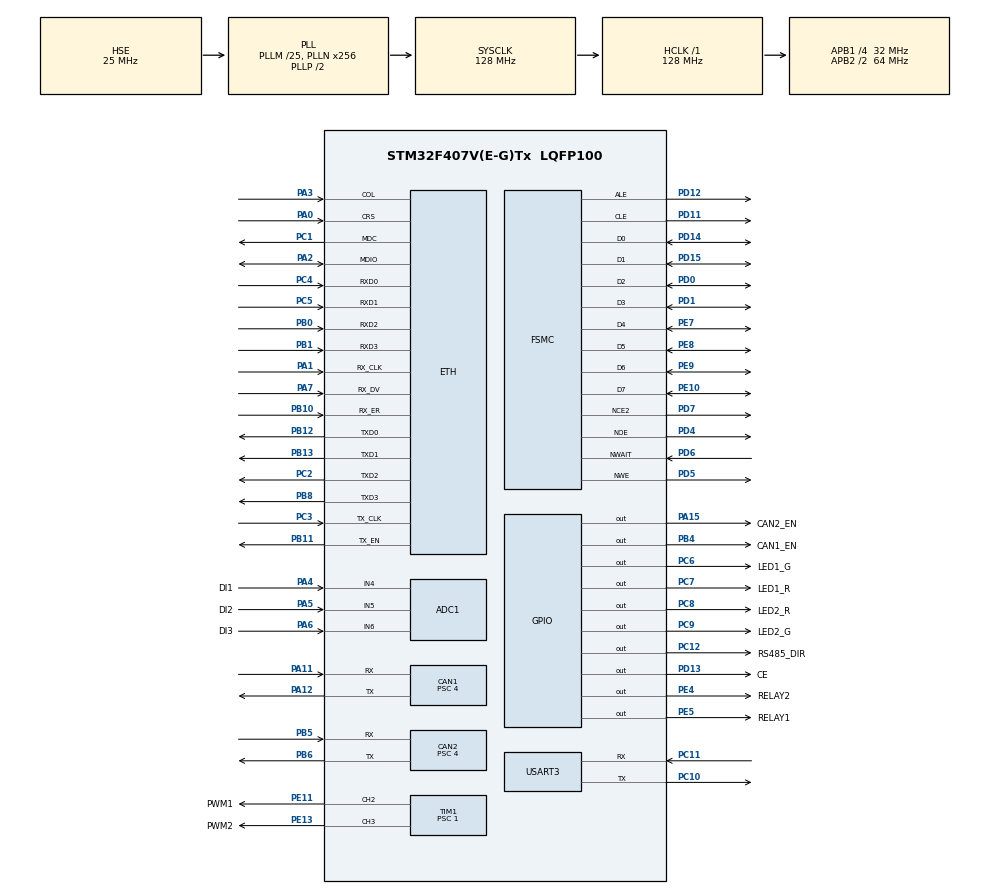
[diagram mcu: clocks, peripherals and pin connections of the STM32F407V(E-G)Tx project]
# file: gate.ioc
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ADC1.Channel-0\#ChannelRegularConversion=ADC_CHANNEL_4
ADC1.Channel-1\#ChannelRegularConversion=ADC_CHANNEL_5
ADC1.Channel-2\#ChannelRegularConversion=ADC_CHANNEL_6
ADC1.ContinuousConvMode=ENABLE
ADC1.DMAContinuousRequests=ENABLE
ADC1.NbrOfConversion=3
ADC1.NbrOfConversionFlag=1
ADC1.Rank-0\#ChannelRegularConversion=1
ADC1.Rank-1\#ChannelRegularConversion=2
ADC1.Rank-2\#ChannelRegularConversion=3
ADC1.SamplingTime-0\#ChannelRegularConversion=ADC_SAMPLETIME_84CYCLES
ADC1.SamplingTime-1\#ChannelRegularConversion=ADC_SAMPLETIME_84CYCLES
ADC1.SamplingTime-2\#ChannelRegularConversion=ADC_SAMPLETIME_84CYCLES
ADC1.ScanConvMode=ENABLE
ADC1.master=1
CAN1.BS1=CAN_BS1_13TQ
CAN1.BS2=CAN_BS2_2TQ
CAN1.CalculateTimeQuantum=125.0
CAN1.Mode=CAN_MODE_NORMAL
CAN1.NART=DISABLE
CAN1.Prescaler=4
CAN2.BS1=CAN_BS1_13TQ
CAN2.BS2=CAN_BS2_2TQ
CAN2.CalculateTimeQuantum=125.0
CAN2.Prescaler=4
Dma.ADC1.0.Direction=DMA_PERIPH_TO_MEMORY
Dma.ADC1.0.FIFOMode=DMA_FIFOMODE_ENABLE
Dma.ADC1.0.FIFOThreshold=DMA_FIFO_THRESHOLD_HALFFULL
Dma.ADC1.0.Instance=DMA2_Stream0
Dma.ADC1.0.MemBurst=DMA_MBURST_SINGLE
Dma.ADC1.0.MemDataAlignment=DMA_MDATAALIGN_HALFWORD
Dma.ADC1.0.MemInc=DMA_MINC_ENABLE
Dma.ADC1.0.Mode=DMA_CIRCULAR
Dma.ADC1.0.PeriphBurst=DMA_PBURST_SINGLE
Dma.ADC1.0.PeriphDataAlignment=DMA_PDATAALIGN_HALFWORD
Dma.ADC1.0.PeriphInc=DMA_PINC_DISABLE
Dma.ADC1.0.Priority=DMA_PRIORITY_LOW
Dma.Request0=ADC1
Dma.Request1=USART3_TX
Dma.USART3_TX.1.Direction=DMA_MEMORY_TO_PERIPH
Dma.USART3_TX.1.FIFOMode=DMA_FIFOMODE_DISABLE
Dma.USART3_TX.1.Instance=DMA1_Stream3
Dma.USART3_TX.1.MemDataAlignment=DMA_MDATAALIGN_BYTE
Dma.USART3_TX.1.MemInc=DMA_MINC_ENABLE
Dma.USART3_TX.1.Mode=DMA_NORMAL
Dma.USART3_TX.1.PeriphDataAlignment=DMA_PDATAALIGN_BYTE
Dma.USART3_TX.1.PeriphInc=DMA_PINC_DISABLE
Dma.USART3_TX.1.Priority=DMA_PRIORITY_LOW
ETH.AutoNegotiation=ETH_AUTONEGOTIATION_DISABLE
ETH.DuplexMode=ETH_MODE_HALFDUPLEX
ETH.MediaInterface=ETH_MEDIA_INTERFACE_MII
ETH.PHY_DUPLEX_STATUS=0x0010
ETH.PHY_Name_MII=userPHY
ETH.PHY_SPEED_STATUS=0x0004
ETH.PHY_SR=0x1F
ETH.PhyAddress=1
ETH.Speed=ETH_SPEED_100M
FREERTOS.Tasks01=defaultTask,0,256,StartDefaultTask,Default,NULL,Dynamic,NULL,NULL;canTask,-3,512,StartCanTask,Default,NULL,Dynamic,NULL,NULL
FREERTOS.configTOTAL_HEAP_SIZE=32768
FSMC.AttributeSpaceHiZSetupTime1=0x1
FSMC.AttributeSpaceHoldSetupTime1=0x2
FSMC.AttributeSpaceSetupTime1=0x1
FSMC.AttributeSpaceWaitSetupTime1=0x3
FSMC.CommonSpaceHiZSetupTime1=0x1
FSMC.CommonSpaceHoldSetupTime1=0x2
FSMC.CommonSpaceSetupTime1=0x1
FSMC.CommonSpaceWaitSetupTime1=0x3
FSMC.ECCPageSize1=FSMC_NAND_ECC_PAGE_SIZE_512BYTE
FSMC.NandBlockNbr1=0x400
FSMC.NandBlockSize1=0x40
FSMC.NandPageSize1=0x800
FSMC.NandSpareAreaSize1=0x40
LWIP.GATEWAY_ADDRESS=192.168.005.001
LWIP.IP_ADDRESS=192.168.005.085
LWIP.LWIP_DHCP=0
LWIP.LWIP_TCP=0
LWIP.MEMP_NUM_PBUF=24
LWIP.MEMP_NUM_TCP_PCB=1
LWIP.MEMP_NUM_TCP_PCB_LISTEN=1
LWIP.MEMP_NUM_TCP_SEG=4
LWIP.MEMP_NUM_UDP_PCB=6
LWIP.MEM_SIZE=10000
LWIP.NETMASK_ADDRESS=255.255.255.000
LWIP.Version=v2.0.3_Cube
Mcu.Family=STM32F4
Mcu.Name=STM32F407V(E-G)Tx
Mcu.Package=LQFP100
NVIC.CAN1_RX0_IRQn=true\:5\:0\:true\:false\:true\:true\:true\:true
NVIC.CAN2_RX0_IRQn=true\:5\:0\:false\:false\:true\:true\:true\:true
NVIC.DMA1_Stream3_IRQn=true\:5\:0\:false\:false\:true\:true\:false\:true
NVIC.DMA2_Stream0_IRQn=true\:5\:0\:false\:false\:true\:true\:false\:true
NVIC.ETH_IRQn=true\:5\:0\:true\:false\:true\:true\:false\:true
NVIC.PriorityGroup=NVIC_PRIORITYGROUP_4
NVIC.TIM2_IRQn=true\:0\:0\:false\:false\:true\:false\:false\:true
NVIC.TimeBase=TIM2_IRQn
NVIC.TimeBaseIP=TIM2
NVIC.USART3_IRQn=true\:5\:0\:false\:false\:true\:true\:true\:true
PA0-WKUP.Mode=MII
PA0-WKUP.Signal=ETH_CRS
PA1.Mode=MII
PA1.Signal=ETH_RX_CLK
PA11.GPIO_PuPd=GPIO_PULLUP
PA11.Mode=Master
PA11.Signal=CAN1_RX
PA12.Mode=Master
PA12.Signal=CAN1_TX
PA15.GPIO_Label=CAN2_EN
PA15.Signal=GPIO_Output
PA2.Mode=MII
PA2.Signal=ETH_MDIO
PA3.Mode=MII
PA3.Signal=ETH_COL
PA4.GPIO_Label=DI1
PA4.Signal=ADCx_IN4
PA5.GPIO_Label=DI2
PA5.Signal=ADCx_IN5
PA6.GPIO_Label=DI3
PA6.Signal=ADCx_IN6
PA7.Mode=MII
PA7.Signal=ETH_RX_DV
PB0.Mode=MII
PB0.Signal=ETH_RXD2
PB1.Mode=MII
PB1.Signal=ETH_RXD3
PB10.Mode=Activate Rx Err signal
PB10.Signal=ETH_RX_ER
PB11.Mode=MII
PB11.Signal=ETH_TX_EN
PB12.Mode=MII
PB12.Signal=ETH_TXD0
PB13.Mode=MII
PB13.Signal=ETH_TXD1
PB4.GPIO_Label=CAN1_EN
PB4.Signal=GPIO_Output
PB5.GPIO_PuPd=GPIO_PULLUP
PB5.Mode=Slave
PB5.Signal=CAN2_RX
PB6.Mode=Slave
PB6.Signal=CAN2_TX
PB8.Mode=MII
PB8.Signal=ETH_TXD3
PC1.Mode=MII
PC1.Signal=ETH_MDC
PC10.Mode=Asynchronous
PC10.Signal=USART3_TX
PC11.Mode=Asynchronous
PC11.Signal=USART3_RX
PC12.GPIO_Label=RS485_DIR
PC12.Signal=GPIO_Output
PC14-OSC32_IN.Mode=LSE-External-Oscillator
PC14-OSC32_IN.Signal=RCC_OSC32_IN
PC15-OSC32_OUT.Mode=LSE-External-Oscillator
PC15-OSC32_OUT.Signal=RCC_OSC32_OUT
PC2.Mode=MII
PC2.Signal=ETH_TXD2
PC3.Mode=MII
PC3.Signal=ETH_TX_CLK
PC4.Mode=MII
PC4.Signal=ETH_RXD0
PC5.Mode=MII
PC5.Signal=ETH_RXD1
PC6.GPIO_Label=LED1_G
PC6.Signal=GPIO_Output
PC7.GPIO_Label=LED1_R
PC7.Signal=GPIO_Output
PC8.GPIO_Label=LED2_R
PC8.Signal=GPIO_Output
PC9.GPIO_Label=LED2_G
PC9.Signal=GPIO_Output
PD0.GPIO_PuPd=GPIO_PULLUP
PD0.Mode=8b-dmux1
PD0.Signal=FSMC_D2
PD1.GPIO_PuPd=GPIO_PULLUP
PD1.Mode=8b-dmux1
PD1.Signal=FSMC_D3
PD11.GPIO_PuPd=GPIO_PULLUP
PD11.Mode=8b-dmux1
PD11.Signal=FSMC_CLE
PD12.GPIO_PuPd=GPIO_PULLUP
PD12.Mode=8b-dmux1
PD12.Signal=FSMC_ALE
PD13.GPIO_Label=CE
PD13.GPIO_PuPd=GPIO_PULLUP
PD13.Signal=GPIO_Output
PD14.GPIO_PuPd=GPIO_PULLUP
PD14.Mode=8b-dmux1
PD14.Signal=FSMC_D0
PD15.GPIO_PuPd=GPIO_PULLUP
PD15.Mode=8b-dmux1
PD15.Signal=FSMC_D1
PD4.GPIO_PuPd=GPIO_PULLUP
PD4.Mode=8b-dmux1
PD4.Signal=FSMC_NOE
PD5.GPIO_PuPd=GPIO_PULLUP
PD5.Mode=8b-dmux1
PD5.Signal=FSMC_NWE
PD6.GPIO_PuPd=GPIO_PULLUP
PD6.Mode=Wait1
PD6.Signal=FSMC_NWAIT
PD7.GPIO_PuPd=GPIO_PULLUP
PD7.Mode=NandChipSelect2_1
PD7.Signal=FSMC_NCE2
PE10.GPIO_PuPd=GPIO_PULLUP
PE10.Mode=8b-dmux1
PE10.Signal=FSMC_D7
PE11.GPIO_Label=PWM1
PE11.Signal=S_TIM1_CH2
PE13.GPIO_Label=PWM2
PE13.Signal=S_TIM1_CH3
PE4.GPIO_Label=RELAY2
PE4.Signal=GPIO_Output
PE5.GPIO_Label=RELAY1
PE5.Signal=GPIO_Output
PE7.GPIO_PuPd=GPIO_PULLUP
PE7.Mode=8b-dmux1
PE7.Signal=FSMC_D4
PE8.GPIO_PuPd=GPIO_PULLUP
PE8.Mode=8b-dmux1
PE8.Signal=FSMC_D5
PE9.GPIO_PuPd=GPIO_PULLUP
PE9.Mode=8b-dmux1
PE9.Signal=FSMC_D6
PH0-OSC_IN.Mode=HSE-External-Oscillator
PH0-OSC_IN.Signal=RCC_OSC_IN
PH1-OSC_OUT.Mode=HSE-External-Oscillator
PH1-OSC_OUT.Signal=RCC_OSC_OUT
ProjectManager.HeapSize=0x2000
ProjectManager.StackSize=0x4000
ProjectManager.TargetToolchain=TrueSTUDIO
RCC.48MHZClocksFreq_Value=64000000
RCC.AHBFreq_Value=128000000
RCC.APB1CLKDivider=RCC_HCLK_DIV4
RCC.APB1Freq_Value=32000000
RCC.APB1TimFreq_Value=64000000
RCC.APB2CLKDivider=RCC_HCLK_DIV2
RCC.APB2Freq_Value=64000000
RCC.APB2TimFreq_Value=128000000
RCC.CortexFreq_Value=128000000
RCC.HCLKFreq_Value=128000000
RCC.HSE_VALUE=25000000
RCC.HSI_VALUE=16000000
RCC.PLLM=25
RCC.PLLN=256
RCC.PLLSourceVirtual=RCC_PLLSOURCE_HSE
RCC.RCC_RTC_Clock_Source=RCC_RTCCLKSOURCE_LSE
RCC.RCC_RTC_Clock_SourceVirtual=RCC_RTCCLKSOURCE_HSE_DIV25
RCC.RCC_RTC_Clock_Source_FROM_HSE=RCC_RTCCLKSOURCE_HSE_DIV25
RCC.SYSCLKFreq_VALUE=128000000
RCC.SYSCLKSource=RCC_SYSCLKSOURCE_PLLCLK
RCC.VCOOutputFreq_Value=256000000
RTC.AsynchPrediv=127
RTC.SynchPrediv=255
SH.ADCx_IN4.0=ADC1_IN4,IN4
SH.ADCx_IN5.0=ADC1_IN5,IN5
SH.ADCx_IN6.0=ADC1_IN6,IN6
SH.S_TIM1_CH2.0=TIM1_CH2,PWM Generation2 CH2
SH.S_TIM1_CH3.0=TIM1_CH3,PWM Generation3 CH3
TIM1.Channel-PWM\ Generation2\ CH2=TIM_CHANNEL_2
TIM1.Channel-PWM\ Generation3\ CH3=TIM_CHANNEL_3
TIM1.Period=65535
TIM1.Prescaler=1
TIM1.RepetitionCounter=0
USART3.VirtualMode=VM_ASYNC
VP_FREERTOS_VS_CMSIS_V1.Mode=CMSIS_V1
VP_LWIP_VS_Enabled.Mode=Enabled
VP_RTC_VS_RTC_Activate.Mode=RTC_Enabled
VP_SYS_VS_tim2.Mode=TIM2
VP_TIM1_VS_ClockSourceINT.Mode=Internal
board=custom

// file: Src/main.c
/* USER CODE BEGIN Header */
/**
  ******************************************************************************
  * @file           : main.c
  * @brief          : Main program body
  ******************************************************************************
  * @attention
  *
  * <h2><center>&copy; Copyright (c) 2019 STMicroelectronics.
  * All rights reserved.</center></h2>
  *
  * This software component is licensed by ST under Ultimate Liberty license
  * SLA0044, the "License"; You may not use this file except in compliance with
  * the License. You may obtain a copy of the License at:
  *                             www.st.com/SLA0044
  *
  ******************************************************************************
  */
/* USER CODE END Header */

#include "main.h"
#include "cmsis_os.h"
#include "adc.h"
#include "can.h"
#include "dma.h"
#include "lwip.h"
#include "rtc.h"
#include "tim.h"
#include "usart.h"
#include "gpio.h"
#include "fsmc.h"

/* USER CODE BEGIN Includes */

#include "button_led.h"
#include "can_tx_stack.h"
#include "frame_stack.h"
#include "uart.h"
#include "can_cmd.h"
#include "eeprom.h"
#include "modbus.h"
#include "dyn_data.h"
#include "can_protocol.h"

/* USER CODE END Includes */

/* USER CODE BEGIN PV */

extern CAN_HandleTypeDef hcan1;
//static CAN_RxHeaderTypeDef   RxHeader;
//static uint8_t               RxData[8];
extern tx_stack can1_tx_stack;
extern tx_stack can2_tx_stack;
extern uint32_t	can_caught_id;
extern uint16_t packet_tmr;

extern uint8_t net_addr;
extern uint8_t current_group;

uint16_t VirtAddVarTab[NB_OF_VAR]={1,2,3,4,5,6,7,8,9,10,11,12,13,14};

extern unsigned short holdReg[HoldingRegistersLimit];

uint16_t adc_data[3]={0,0,0};

extern uint16_t	point_cnt;	// предполагаемое число точек

#define		DI_BREAK_LIMIT		200
#define		DI_OPEN_LIMIT		800
#define		DI_CLOSED_LIMIT		2000

/* USER CODE END PV */

void SystemClock_Config(void);
void MX_FREERTOS_Init(void);

/* USER CODE BEGIN 0 */

static void initCANFilter() {
	CAN_FilterTypeDef  sFilterConfig;

	sFilterConfig.FilterBank = 0;
	sFilterConfig.FilterMode = CAN_FILTERMODE_IDMASK;
	sFilterConfig.FilterScale = CAN_FILTERSCALE_32BIT;
	sFilterConfig.FilterIdHigh = 0x0000;
	sFilterConfig.FilterIdLow = 0x0000;
	sFilterConfig.FilterMaskIdHigh = 0x0000;
	sFilterConfig.FilterMaskIdLow = 0x0000;
	sFilterConfig.FilterFIFOAssignment = CAN_RX_FIFO0;
	sFilterConfig.FilterActivation = ENABLE;
	sFilterConfig.SlaveStartFilterBank = 14;
	HAL_CAN_ConfigFilter(&hcan1, &sFilterConfig);

	sFilterConfig.FilterBank = 14;
	sFilterConfig.FilterMode = CAN_FILTERMODE_IDMASK;
	sFilterConfig.FilterScale = CAN_FILTERSCALE_32BIT;
	sFilterConfig.FilterIdHigh = 0x0000;
	sFilterConfig.FilterIdLow = 0x0000;
	sFilterConfig.FilterMaskIdHigh = 0x0000;
	sFilterConfig.FilterMaskIdLow = 0x0000;
	sFilterConfig.FilterFIFOAssignment = CAN_RX_FIFO0;
	sFilterConfig.FilterActivation = ENABLE;
	sFilterConfig.SlaveStartFilterBank = 14;
	HAL_CAN_ConfigFilter(&hcan2, &sFilterConfig);
}

/* USER CODE END 0 */

int main(void)
{

  /* MCU Configuration--------------------------------------------------------*/

  /* Reset of all peripherals, Initializes the Flash interface and the Systick. */
  HAL_Init();

  /* Configure the system clock */
  SystemClock_Config();

  /* Initialize all configured peripherals */
  MX_GPIO_Init();
  MX_DMA_Init();
  MX_FSMC_Init();
  MX_CAN1_Init();
  MX_RTC_Init();
  MX_ADC1_Init();
  MX_TIM1_Init();
  MX_USART3_UART_Init();
  MX_CAN2_Init();
  /* USER CODE BEGIN 2 */

  HAL_FLASH_Unlock();
  EE_Init();
  EE_ReadVariable(VirtAddVarTab[0],  &holdReg[0]);
  if(holdReg[0]!=0x1235) {
	  EE_WriteVariable(VirtAddVarTab[0],0x1235);
	  holdReg[0] = 192;holdReg[1] = 168;holdReg[2] = 1;holdReg[3] = 2;
	  holdReg[4] = 255;holdReg[5] = 255;holdReg[6] = 255;holdReg[7] = 0;
	  holdReg[8] = 192;holdReg[9] = 168;holdReg[10] = 1;holdReg[11] = 1;
	  holdReg[12] = 1; // число подкл точек
	  holdReg[13] = 1; // сетевой адрес
	  for(uint8_t i=0;i<NB_OF_VAR-1;i++) {
		  EE_WriteVariable(VirtAddVarTab[i+1],  holdReg[i]);
	  }
  }
  for(uint8_t i=0;i<NB_OF_VAR-1;i++) {
	  EE_ReadVariable(VirtAddVarTab[i+1],  &holdReg[i]);
  }

  current_group = net_addr = holdReg[13];
  point_cnt = holdReg[12];

  LL_DMA_EnableIT_TC(DMA1, LL_DMA_STREAM_3);
  LL_DMA_EnableIT_TE(DMA1, LL_DMA_STREAM_3);
  LL_USART_EnableIT_RXNE(USART3);

  HAL_ADC_Start_DMA(&hadc1,(uint32_t*) &adc_data,3);

  HAL_TIM_PWM_Start(&htim1, TIM_CHANNEL_2);
  HAL_TIM_PWM_Start(&htim1, TIM_CHANNEL_3);

  //TIM1->CCR2=32756;
  //TIM1->CCR3=10000;

  init_can_frames();
  init_can_tx_stack(&can1_tx_stack);
  init_can_tx_stack(&can2_tx_stack);

  initCANFilter();
  HAL_CAN_Start(&hcan1);
  if (HAL_CAN_ActivateNotification(&hcan1, CAN_IT_RX_FIFO0_MSG_PENDING) != HAL_OK) {
	  Error_Handler();
  }
  HAL_CAN_Start(&hcan2);
  if (HAL_CAN_ActivateNotification(&hcan2, CAN_IT_RX_FIFO0_MSG_PENDING) != HAL_OK) {
    Error_Handler();
  }
  init_groups();
  init_points();

  /* USER CODE END 2 */

  /* Call init function for freertos objects (in freertos.c) */
  MX_FREERTOS_Init();

  /* Start scheduler */
  osKernelStart();

  /* We should never get here as control is now taken by the scheduler */

  /* Infinite loop */
  while (1)
  {

  }
}

void SystemClock_Config(void)
{
  RCC_OscInitTypeDef RCC_OscInitStruct = {0};
  RCC_ClkInitTypeDef RCC_ClkInitStruct = {0};
  RCC_PeriphCLKInitTypeDef PeriphClkInitStruct = {0};

  /** Configure the main internal regulator output voltage
  */
  __HAL_RCC_PWR_CLK_ENABLE();
  __HAL_PWR_VOLTAGESCALING_CONFIG(PWR_REGULATOR_VOLTAGE_SCALE1);
  /** Initializes the CPU, AHB and APB busses clocks
  */
  RCC_OscInitStruct.OscillatorType = RCC_OSCILLATORTYPE_HSE|RCC_OSCILLATORTYPE_LSE;
  RCC_OscInitStruct.HSEState = RCC_HSE_ON;
  RCC_OscInitStruct.LSEState = RCC_LSE_ON;
  RCC_OscInitStruct.PLL.PLLState = RCC_PLL_ON;
  RCC_OscInitStruct.PLL.PLLSource = RCC_PLLSOURCE_HSE;
  RCC_OscInitStruct.PLL.PLLM = 25;
  RCC_OscInitStruct.PLL.PLLN = 256;
  RCC_OscInitStruct.PLL.PLLP = RCC_PLLP_DIV2;
  RCC_OscInitStruct.PLL.PLLQ = 4;
  if (HAL_RCC_OscConfig(&RCC_OscInitStruct) != HAL_OK)
  {
    Error_Handler();
  }
  /** Initializes the CPU, AHB and APB busses clocks
  */
  RCC_ClkInitStruct.ClockType = RCC_CLOCKTYPE_HCLK|RCC_CLOCKTYPE_SYSCLK
                              |RCC_CLOCKTYPE_PCLK1|RCC_CLOCKTYPE_PCLK2;
  RCC_ClkInitStruct.SYSCLKSource = RCC_SYSCLKSOURCE_PLLCLK;
  RCC_ClkInitStruct.AHBCLKDivider = RCC_SYSCLK_DIV1;
  RCC_ClkInitStruct.APB1CLKDivider = RCC_HCLK_DIV4;
  RCC_ClkInitStruct.APB2CLKDivider = RCC_HCLK_DIV2;

  if (HAL_RCC_ClockConfig(&RCC_ClkInitStruct, FLASH_LATENCY_4) != HAL_OK)
  {
    Error_Handler();
  }
  PeriphClkInitStruct.PeriphClockSelection = RCC_PERIPHCLK_RTC;
  PeriphClkInitStruct.RTCClockSelection = RCC_RTCCLKSOURCE_LSE;
  if (HAL_RCCEx_PeriphCLKConfig(&PeriphClkInitStruct) != HAL_OK)
  {
    Error_Handler();
  }
}

/* USER CODE BEGIN 4 */

void HAL_CAN_RxFifo0MsgPendingCallback(CAN_HandleTypeDef *hcan)
{
	if(hcan==&hcan1) check_can_rx(1);
	else check_can_rx(2);
	/*if(HAL_CAN_GetRxFifoFillLevel(hcan, CAN_RX_FIFO0)) {
		if(HAL_CAN_GetRxMessage(hcan, CAN_RX_FIFO0, &RxHeader, RxData) == HAL_OK) {
			toggle_second_led(GREEN);
		}
	}*/
}

/* USER CODE END 4 */

void HAL_TIM_PeriodElapsedCallback(TIM_HandleTypeDef *htim)
{
  /* USER CODE BEGIN Callback 0 */

  can_write_from_stack();
  packet_tmr++;
  if(packet_tmr>=500) {
	  packet_tmr=0;
	  can_caught_id = 0;
  }
  uart1_scan();

  /* USER CODE END Callback 0 */
  if (htim->Instance == TIM2) {
    HAL_IncTick();
  }
}

void Error_Handler(void)
{
}

/************************ (C) COPYRIGHT STMicroelectronics *****END OF FILE****/

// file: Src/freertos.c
/* USER CODE BEGIN Header */
/**
  ******************************************************************************
  * File Name          : freertos.c
  * Description        : Code for freertos applications
  ******************************************************************************
  * @attention
  *
  * <h2><center>&copy; Copyright (c) 2019 STMicroelectronics.
  * All rights reserved.</center></h2>
  *
  * This software component is licensed by ST under Ultimate Liberty license
  * SLA0044, the "License"; You may not use this file except in compliance with
  * the License. You may obtain a copy of the License at:
  *                             www.st.com/SLA0044
  *
  ******************************************************************************
  */
/* USER CODE END Header */

#include "FreeRTOS.h"
#include "task.h"
#include "main.h"
#include "cmsis_os.h"

/* USER CODE BEGIN Includes */

#include "button_led.h"
#include "udp_server.h"
#include "uart.h"
#include "modbus.h"
#include "can_cmd.h"
#include "dyn_data.h"

/* USER CODE END Includes */

/* USER CODE BEGIN PD */

#define		DI_BREAK_LIMIT		200
#define		DI_OPEN_LIMIT		800
#define		DI_CLOSED_LIMIT		2000

#define		START_STATE			0
#define		CHECK_DI1			1
#define		CHECK_RELAY2		2
#define		CHECK_DI2			3
#define		CHECK_AUDIO			4
#define		CHECK_DI3			5
#define		CHECK_DI2_2			6
#define		CHECK_RELAY2_2		7
#define		CHECK_DI1_2			8

/* USER CODE END PD */

/* USER CODE BEGIN Variables */

uint8_t		gate_state = START_STATE;
uint16_t	gate_tmr = 0;
uint16_t	sec_cnt = 0;
uint16_t	point_cnt = 2;
static uint16_t	i = 0;
static uint8_t	relay2_test = 0;
static uint8_t	audio_test = 0;

static uint16_t err_dec = 0;
static uint16_t err_point = 0;
static uint16_t err_num = 0;

extern uint16_t adc_data[3];

extern unsigned short inpReg[InputRegistersLimit];
extern unsigned char discrInp[DiscreteInputsLimit];
extern uint16_t group_tmr[GROUP_CNT];
extern struct group_data groups[GROUP_CNT];

uint8_t modbus_di_array[DiscreteInputsLimit/8];

uint16_t group_bits=0;

extern uint16_t can_tmr;

extern uint8_t p_cnt;
extern uint8_t current_group;

/* USER CODE END Variables */
osThreadId defaultTaskHandle;
osThreadId canTaskHandle;

/* USER CODE BEGIN FunctionPrototypes */

// упаковка массива бит в байты
static void bytes_to_bits(uint8_t *inp, uint8_t *out, uint16_t cnt) {
	uint16_t i = 0;
	uint8_t bit_num = 0;
	uint16_t byte_num = 0;
	uint8_t byte_value = 0;
	for(i=0;i<cnt;i++) {
		if(inp[i]) byte_value |= 1<<bit_num;
		bit_num++;
		if(bit_num==8) {
			bit_num = 0;
			out[byte_num++] = byte_value;
			byte_value = 0;
		}
	}
}

/* USER CODE END FunctionPrototypes */

void StartDefaultTask(void const * argument);
void StartCanTask(void const * argument);

extern void MX_LWIP_Init(void);
void MX_FREERTOS_Init(void); /* (MISRA C 2004 rule 8.1) */

/* GetIdleTaskMemory prototype (linked to static allocation support) */
void vApplicationGetIdleTaskMemory( StaticTask_t **ppxIdleTaskTCBBuffer, StackType_t **ppxIdleTaskStackBuffer, uint32_t *pulIdleTaskStackSize );

/* USER CODE BEGIN GET_IDLE_TASK_MEMORY */
static StaticTask_t xIdleTaskTCBBuffer;
static StackType_t xIdleStack[configMINIMAL_STACK_SIZE];

void vApplicationGetIdleTaskMemory( StaticTask_t **ppxIdleTaskTCBBuffer, StackType_t **ppxIdleTaskStackBuffer, uint32_t *pulIdleTaskStackSize )
{
  *ppxIdleTaskTCBBuffer = &xIdleTaskTCBBuffer;
  *ppxIdleTaskStackBuffer = &xIdleStack[0];
  *pulIdleTaskStackSize = configMINIMAL_STACK_SIZE;
  /* place for user code */
}
/* USER CODE END GET_IDLE_TASK_MEMORY */

void MX_FREERTOS_Init(void) {

  /* Create the thread(s) */
  /* definition and creation of defaultTask */
  osThreadDef(defaultTask, StartDefaultTask, osPriorityNormal, 0, 1024);
  defaultTaskHandle = osThreadCreate(osThread(defaultTask), NULL);

  /* definition and creation of canTask */
  osThreadDef(canTask, StartCanTask, osPriorityNormal, 0, 1024);
  canTaskHandle = osThreadCreate(osThread(canTask), NULL);

}

void StartDefaultTask(void const * argument)
{

  /* init code for LWIP */
  MX_LWIP_Init();

  /* USER CODE BEGIN StartDefaultTask */
  /* Infinite loop */

  static uint8_t gate_update_tmr=0;
  struct group_data group;

  uint16_t j=0;

  led_init();
  udp_server_init();

  osDelay(500);
  get_points_state();
  osDelay(500);
  get_points_state();

  for(;;)
  {
    osDelay(100);
    for(j=0;j<GROUP_CNT;j++){
    	if(groups[j].num) {
    		if(group_tmr[j]<50) group_tmr[j]++;else {
				if(group_tmr[j]==50) {	// данные по группе долго не обновлялись, сброс данных
					group_tmr[j]++;
					group.num = j+1;
					group.point_cnt=0;
					group.version=0;
					group.bits=(uint16_t)1<<11;
					add_group_data(j,&group);
				}
			}
    	}
    }

    // периодическая отправка состояния шлюза
    gate_update_tmr++;
    if(gate_update_tmr>=10) {
    	gate_update_tmr=0;
    	send_get_state();
    }

    inpReg[1] = gate_state;

    // формирование данных для текущей группы
    group.bits=0;
    for(i=0;i<3;i++) {
    	if(adc_data[i]<DI_BREAK_LIMIT) {	// обрыв
    		discrInp[3*i+0] = 0;
    		discrInp[3*i+1] = 1;
    		discrInp[3*i+2] = 0;
    		group.bits |= ((uint16_t)1<<(1+i*3));
    	}else if(adc_data[i]<DI_OPEN_LIMIT) {	// выкл
    		discrInp[3*i+0] = 0;
    		discrInp[3*i+1] = 0;
    		discrInp[3*i+2] = 0;
    	}else if(adc_data[i]<DI_CLOSED_LIMIT) {	// вкл
    		discrInp[3*i+0] = 1;
    		discrInp[3*i+1] = 0;
    		discrInp[3*i+2] = 0;
    		group.bits |= ((uint16_t)1<<(0+i*3));
    	}else {	//	кз
    		discrInp[3*i+0] = 0;
    		discrInp[3*i+1] = 0;
    		discrInp[3*i+2] = 1;
    		group.bits |= ((uint16_t)1<<(2+i*3));
    	}
    }
    if(HAL_GPIO_ReadPin(RELAY1_GPIO_Port,RELAY1_Pin)==GPIO_PIN_SET) {
    	discrInp[9]=1;group.bits |= ((uint16_t)1<<9);
    }else discrInp[9]=0;
    if(HAL_GPIO_ReadPin(RELAY2_GPIO_Port,RELAY2_Pin)==GPIO_PIN_SET) {
    	discrInp[10]=1;group.bits |= ((uint16_t)1<<10);
    }else discrInp[10]=0;

    group.num = current_group;
	group.point_cnt=p_cnt;
	group.version=1;
	add_group_data(current_group-1,&group);
	group_tmr[current_group-1]=0;
	group_bits = group.bits;

    // manage relay 2
    relay2_test = 1;
    if(inpReg[0]>=point_cnt) {
    	for(i=0;i<point_cnt;++i) {
    		if(discrInp[16+i*10+1]==0) {relay2_test = 0;break;}
    	}
    }else relay2_test = 0;
    if(relay2_test) {HAL_GPIO_WritePin(RELAY2_GPIO_Port,RELAY2_Pin,GPIO_PIN_SET);}
    else HAL_GPIO_WritePin(RELAY2_GPIO_Port,RELAY2_Pin,GPIO_PIN_RESET);

    gate_tmr++;
    if(gate_tmr>=10) {
    	gate_tmr=0;
    	sec_cnt++;
    }

    // формирование выхода DAC при некорректном числе подключенных точек
    err_num = 0;
    if(inpReg[0]>=point_cnt) {
		for(i=0;i<point_cnt;++i) {
			if(discrInp[16+i*10+1]==0) {err_num = i;break;}
		}
	}else {
		if(inpReg[0]) err_num = inpReg[0];else err_num=99;
	}
    if(err_num) {
    	err_dec = err_num/10;
    	err_point = err_num%10;
    }else {
    	err_dec = 0;
    	err_point = 0;
    }
    can_tmr++;
    if(can_tmr>=30) {
    	err_dec = 9;
    	err_point = 9;
    	inpReg[0] = 0;
    	p_cnt=0;
    }

    TIM1->CCR2=(65535/9)*err_dec;
    TIM1->CCR3=(65535/9)*err_point;

    // алгоритм управления выходами шлюза и точек
    switch(gate_state) {
		case START_STATE:
			if(gate_tmr==0) {	// выключить реле на всех громкоговорителях
				manage_all_relays(1,0);
				manage_all_relays(2,0);
				gate_state = CHECK_DI1;
			}
			HAL_GPIO_WritePin(RELAY1_GPIO_Port,RELAY1_Pin,GPIO_PIN_RESET);
			break;
		case CHECK_DI1:
			if(discrInp[0]) gate_state = CHECK_RELAY2;
			else gate_state = START_STATE;
			break;
		case CHECK_RELAY2:
			if(HAL_GPIO_ReadPin(RELAY2_GPIO_Port,RELAY2_Pin)==GPIO_PIN_SET) gate_state = CHECK_DI2;
			else gate_state = START_STATE;
			break;
		case CHECK_DI2:
			if(discrInp[3]) {
				HAL_GPIO_WritePin(RELAY1_GPIO_Port,RELAY1_Pin,GPIO_PIN_SET);
				send_scan_cmd_from_gate();
				gate_tmr = 0;sec_cnt = 0;
				manage_all_relays(2,1);
				gate_state = CHECK_AUDIO;
			}else gate_state = START_STATE;
			break;
		case CHECK_AUDIO:
			if(gate_tmr==0) send_scan_cmd_from_gate();
			if(sec_cnt>=2) {
				audio_test = 1;
				for(i=0;i<point_cnt;i++) {
					if(discrInp[16+i*10]==0) {audio_test = 0; break;}
				}
				if(audio_test) gate_state = CHECK_DI3;
				if(sec_cnt>=4) gate_state = START_STATE;
			}
			break;
		case CHECK_DI3:
			if(discrInp[6]) {
				gate_state = CHECK_DI2_2;
			}else gate_state = CHECK_DI1;
			break;
		case CHECK_DI2_2:
			if(discrInp[3]) {
				if(discrInp[0]==0) gate_state = START_STATE;
				//if(gate_tmr==0) send_scan_cmd_from_gate();
				if(gate_tmr==0) gate_state = CHECK_DI2;
			}else gate_state = CHECK_RELAY2_2;
			break;
		case CHECK_RELAY2_2:
			if(HAL_GPIO_ReadPin(RELAY2_GPIO_Port,RELAY2_Pin)==GPIO_PIN_SET) gate_state = CHECK_DI1_2;
			else gate_state = START_STATE;
			break;
		case CHECK_DI1_2:
			if(discrInp[0]) {
				HAL_GPIO_WritePin(RELAY1_GPIO_Port,RELAY1_Pin,GPIO_PIN_RESET);
				manage_all_relays(2,0);
				manage_all_relays(1,1);
				gate_state = CHECK_DI3;
			}
			else gate_state = START_STATE;
			break;
    }
    toggle_first_led(RED);
    toggle_second_led(RED);
    bytes_to_bits(discrInp,modbus_di_array,DiscreteInputsLimit);
  }
  /* USER CODE END StartDefaultTask */
}

void StartCanTask(void const * argument)
{
  for(;;)
  {
    osDelay(1);
  }
}

/************************ (C) COPYRIGHT STMicroelectronics *****END OF FILE****/
